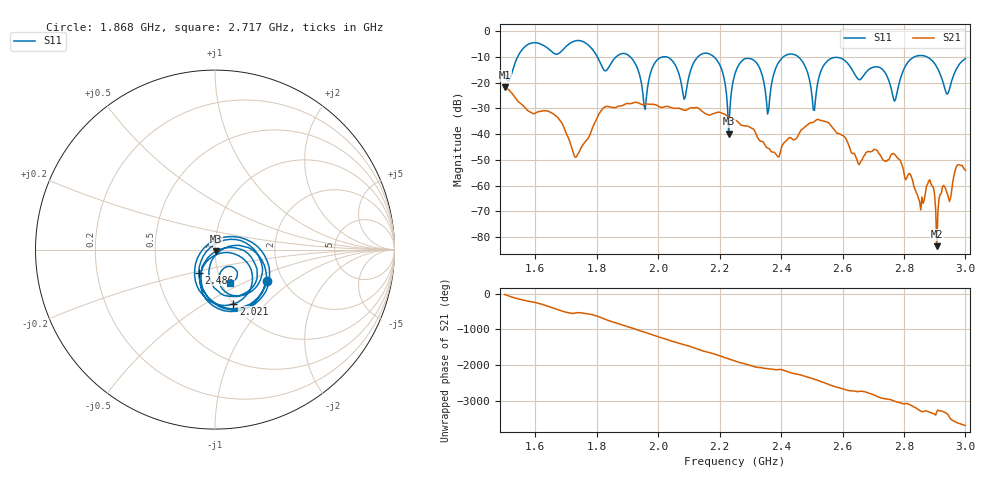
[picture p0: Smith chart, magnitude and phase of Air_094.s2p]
# HZ S RI R 50
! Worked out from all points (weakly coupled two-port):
!   404 points, 1.5 GHz to 3 GHz, reference 50 ohm
!   highest |S21| = -21.85 dB at 1.5 GHz (marker M1); lowest = -83.5 dB at 2.907 GHz (marker M2)
!   lowest |S11| = -39.8 dB at 2.23 GHz (marker M3), VSWR 1.02, Z = 50.4 - j0.941 ohm
!   |S11| at or under -10 dB: 2.182 GHz to 2.407 GHz (225.3 MHz wide, 9.82 % of centre); 2.457 GHz to 2.834 GHz (377.1 MHz wide, 14.3 % of centre); 2.875 GHz to end of sweep (the widest 3 of 7)
!   S12 and S22 are empty: the file has one direction only
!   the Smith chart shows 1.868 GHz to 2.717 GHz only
!   S11 on the Smith chart (normalised r, x): 1.868 GHz: 1.65, -0.65; 2.021 GHz: 1.00, -0.67; 2.486 GHz: 0.81, -0.21; 2.717 GHz: 1.09, -0.42
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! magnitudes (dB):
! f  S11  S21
! 1.5 GHz  -16.3  -21.9
! 1.582 GHz  -4.8  -31.3
! 1.753 GHz  -3.9  -44.4
! 1.868 GHz  -9.5  -29.2
! 1.958 GHz  -30.3  -28.3
! 2.002 GHz  -10.6  -29.3
! 2.021 GHz  -9.9  -29.3
! 2.084 GHz  -26.4  -30.7
! 2.177 GHz  -9.6  -32.1
! 2.23 GHz  -39.8  -33.4
! 2.252 GHz  -15.9  -34.6
! 2.315 GHz  -11.7  -39.0
! 2.356 GHz  -32.2  -45.3
! 2.39 GHz  -12.6  -48.8
! 2.486 GHz  -16.1  -36.4
! 2.501 GHz  -25.8  -35.5
! 2.565 GHz  -10.5  -37.0
! 2.717 GHz  -13.9  -47.3
! 2.751 GHz  -19.2  -50.0
! 2.907 GHz  -13.9  -83.5
! 2.94 GHz  -24.5  -62.9
! 3 GHz  -10.7  -54.0
